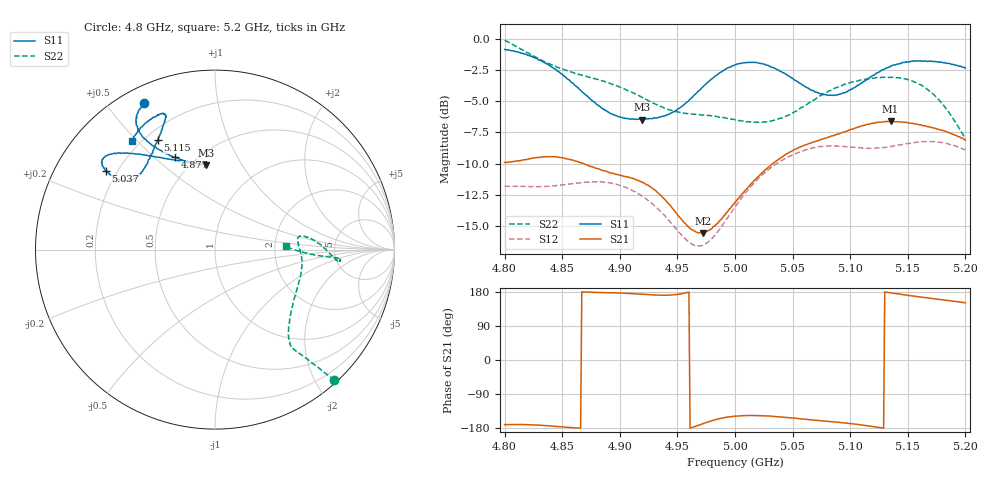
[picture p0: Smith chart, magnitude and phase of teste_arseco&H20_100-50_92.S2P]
! Network Analyzer HP8722D
! Hewlett-Packard
! Data name: Linha & Wilkinson
! Saver's name: Rodrigo Anjos
! Comments: Teste da utilização de aquisição
! continua pelo VNA HP8722D
! Time and date: 6/5/2025 13:20
!  Frequency  S11  S21  S12  S22
# HZ  S  MA R 50
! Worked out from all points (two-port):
!   401 points, 4.8 GHz to 5.2 GHz, reference 50 ohm
!   highest |S21| = -6.60 dB at 5.135 GHz (marker M1); lowest = -15.5 dB at 4.972 GHz (marker M2)
!   |S21| within 3 dB of the highest: 4.822 GHz to 4.853 GHz (31.65 MHz wide, 0.654 % of centre); 5.039 GHz to end of sweep
!   lowest |S11| = -6.5 dB at 4.919 GHz (marker M3), VSWR 2.81, Z = 29.2 + j35.6 ohm
!   |S11| at or under -10 dB: nowhere
!   |S22| runs from -8.0 to -0.1 dB; largest |S21 - S12| = 0.83
!   S11 on the Smith chart (normalised r, x): 4.8 GHz: 0.07, +0.62; 4.877 GHz: 0.39, +0.58; 5.037 GHz: 0.16, +0.32; 5.115 GHz: 0.25, +0.58; 5.2 GHz: 0.17, +0.48
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4.8e9  0.9058 115.8  0.32 -170.5  0.2569 -86.2  0.9833 -47.5
4.819e9  0.8651 120.4  0.3291 -170.4  0.2559 -81.9  0.882 -48.7
4.835e9  0.7997 122.6  0.3372 -173.0  0.2566 -76.5  0.8078 -49.8
4.867e9  0.615 117.9  0.3179 179.8  0.2655 -67.4  0.7154 -51.5
4.877e9  0.5603 113.5  0.3063 178.6  0.2681 -66.2  0.6938 -51.9
4.902e9  0.4838 100.2  0.2832 176.6  0.2578 -66.9  0.6352 -49.8
4.919e9  0.4745 96.0  0.2676 173.7  0.235 -68.8  0.5832 -44.9
4.934e9  0.4846 99.1  0.2394 171.1  0.2067 -69.5  0.5396 -37.5
4.96e9  0.5666 117.1  0.1759 179.5  0.1537 -57.9  0.5005 -20.4
4.972e9  0.6398 125.3  0.1671 -168.0  0.1491 -44.1  0.4956 -13.5
5e9  0.7856 137.3  0.2215 -148.4  0.2123 -21.5  0.4738 -0.3
5.019e9  0.8023 141.8  0.2776 -146.6  0.272 -18.4  0.463 5.9
5.037e9  0.7505 144.0  0.3269 -149.6  0.3181 -18.3  0.4759 8.8
5.067e9  0.621 141.9  0.385 -157.9  0.3655 -20.6  0.562 4.6
5.088e9  0.595 133.0  0.4139 -164.0  0.3717 -23.7  0.6369 -1.7
5.115e9  0.688 117.5  0.4545 -173.6  0.3644 -26.7  0.6904 -5.4
5.134e9  0.7709 111.3  0.4661 177.7  0.3692 -28.7  0.6994 -4.9
5.135e9  0.7739 111.0  0.4676 177.4  0.3705 -28.8  0.7004 -4.8
5.146e9  0.8035 110.3  0.4639 172.3  0.3772 -31.0  0.6925 -4.2
5.163e9  0.8115 113.0  0.4487 165.4  0.3871 -35.6  0.6455 -3.8
5.18e9  0.8041 118.8  0.4297 158.9  0.384 -40.9  0.5488 -2.9
5.2e9  0.7626 127.3  0.3925 150.8  0.3584 -46.4  0.3976 2.5
